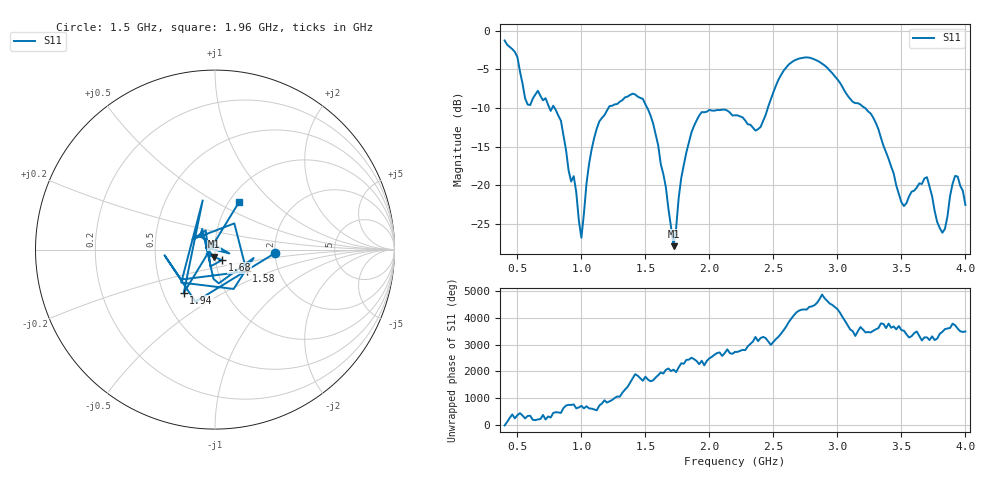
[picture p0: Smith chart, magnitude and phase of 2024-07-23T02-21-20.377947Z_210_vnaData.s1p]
!Created with skrf (http://scikit-rf.org).
# Hz S RI R 50.0
!freq ReS11 ImS11
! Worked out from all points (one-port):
!   181 points, 400 MHz to 4 GHz, reference 50 ohm
!   lowest |S11| = -27.9 dB at 1.72 GHz (marker M1), VSWR 1.08, Z = 49.3 - j3.96 ohm
!   |S11| at or under -10 dB: 790.7 MHz to 1.211 GHz (420.6 MHz wide, 42 % of centre); 1.515 GHz to 2.456 GHz (941.4 MHz wide, 47.4 % of centre); 3.216 GHz to end of sweep (the widest 3 of 4)
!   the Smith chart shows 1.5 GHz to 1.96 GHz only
!   S11 on the Smith chart (normalised r, x): 1.5 GHz: 2.00, -0.09; 1.58 GHz: 1.38, -0.35; 1.68 GHz: 1.07, -0.13; 1.94 GHz: 0.63, -0.34; 1.96 GHz: 1.11, +0.65
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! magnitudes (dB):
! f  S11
! 400 MHz  -1.3
! 500 MHz  -3.4
! 580 MHz  -9.5
! 660 MHz  -7.8
! 860 MHz  -13.5
! 1 GHz  -26.8
! 1.06 GHz  -17.2
! 1.12 GHz  -12.7
! 1.3 GHz  -9.2
! 1.5 GHz  -9.5
! 1.58 GHz  -13.4
! 1.68 GHz  -23.0
! 1.72 GHz  -27.9
! 1.76 GHz  -21.6
! 1.86 GHz  -13.1
! 1.94 GHz  -10.5
! 1.96 GHz  -10.6
! 2.2 GHz  -10.9
! 2.4 GHz  -12.4
! 2.66 GHz  -3.9
! 3.1 GHz  -8.8
! 3.28 GHz  -11.3
! 3.5 GHz  -22.2
! 3.56 GHz  -21.4
! 3.7 GHz  -18.9
! 3.82 GHz  -26.1
! 3.92 GHz  -18.8
! 4 GHz  -22.5
